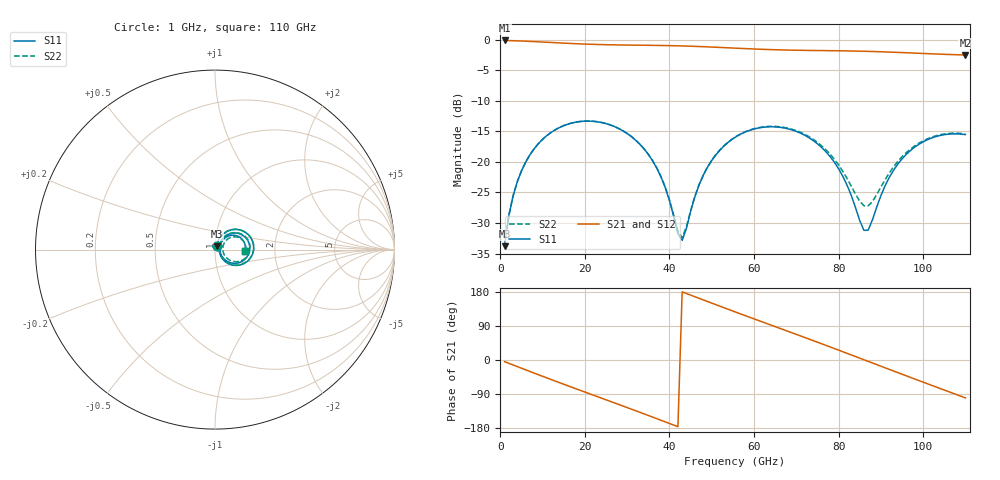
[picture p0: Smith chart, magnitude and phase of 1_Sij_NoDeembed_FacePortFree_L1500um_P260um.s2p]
! Touchstone file exported from HFSS 2024.2.0
!  File:  C:/Users/vaintrug/Documents/Ansoft_Workspace/Comparaison_Calculs_HFSS/1_VarPort.aedt
!  Generated:  03:22:17 PM Jan 21, 2025
!  Design:  1_NoDeembed_FacePortFree
!  Project:  1_VarPort
!  Setup:  Setup1
!  Solution:  Sweep
! Variables:
!  $Lenght = 1500um
!  $PortSize = 260um
!  Gap = 30um
!  Th = 2um
!  X_centralStrip = 20um
!  X_masse = 200um
!  Y_Sub = 1.5mm
!  Z_Box = 400um
!  Z_Sub = 200um
# GHz S MA R 50.000000
! Terminal data exported
! Port[1] = 1
! Port[2] = 2
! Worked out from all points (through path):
!   110 points, 1 GHz to 110 GHz, reference 50 ohm
!   highest |S21| = -0.10 dB at 1 GHz (marker M1); lowest = -2.5 dB at 110 GHz (marker M2)
!   group delay of S21, straight-line fit = 11.6 ps
!   lowest |S11| = -33.8 dB at 1 GHz (marker M3), VSWR 1.04, Z = 50.9 + j1.84 ohm
!   |S11| at or under -10 dB: start of sweep to end of sweep
!   |S22| runs from -33.8 to -13.3 dB; largest |S21 - S12| = 2.7e-15
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1  0.02043 62.1  0.9891 -4.4  0.9891 -4.4  0.02043 62.1
! Gamma 6.03418182555362 50.1280574925493 6.05840980388298 50.0410220370304
! Port Impedance 50 0 50 0
3  0.05267 69.8  0.9841 -13.1  0.9841 -13.1  0.05268 69.9
7  0.1146 58.4  0.9717 -30.3  0.9717 -30.3  0.1146 58.6
14  0.1916 31.3  0.9442 -59.9  0.9442 -59.9  0.1917 31.5
20  0.216 8.0  0.924 -84.6  0.924 -84.6  0.2162 8.4
29  0.1797 -25.5  0.9077 -121.5  0.9077 -121.5  0.1801 -24.9
34  0.1276 -42.2  0.9034 -142.2  0.9034 -142.2  0.128 -41.3
38  0.07532 -50.9  0.8995 -159.0  0.8995 -159.0  0.07584 -49.5
42  0.02596 -23.6  0.8935 -176.0  0.8935 -176.0  0.02704 -21.8
43  0.02279 7.5  0.8916 179.8  0.8916 179.8  0.02397 7.9
46  0.05176 53.6  0.8847 167.0  0.8847 167.0  0.05233 53.4
49  0.09054 53.2  0.8763 154.3  0.8763 154.3  0.09101 53.6
56  0.1629 32.6  0.8541 125.0  0.8541 125.0  0.1637 33.9
65  0.1939 1.1  0.8304 88.1  0.8304 88.1  0.1955 3.5
74  0.1498 -29.5  0.8187 51.1  0.8187 51.1  0.1533 -24.7
80  0.08806 -44.8  0.8139 26.1  0.8139 26.1  0.09457 -36.1
86  0.02752 -8.9  0.8066 0.7  0.8066 0.7  0.0438 -5.0
87  0.02766 15.0  0.8049 -3.6  0.8049 -3.6  0.04369 8.6
92  0.07474 50.3  0.7946 -24.8  0.7946 -24.8  0.08129 39.7
96  0.1153 42.8  0.7844 -41.7  0.7844 -41.7  0.1192 36.0
101  0.152 27.8  0.7713 -62.7  0.7713 -62.7  0.1547 23.5
110  0.1673 -1.8  0.7519 -100.0  0.7519 -100.0  0.1696 -3.5
